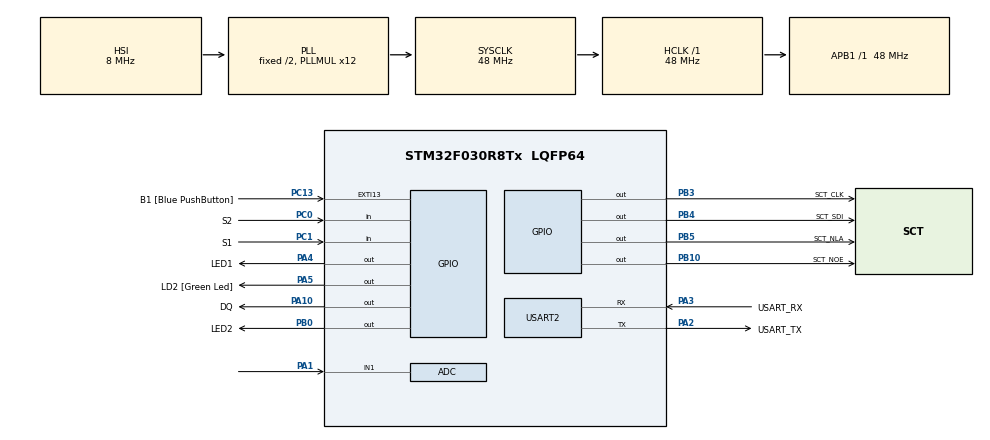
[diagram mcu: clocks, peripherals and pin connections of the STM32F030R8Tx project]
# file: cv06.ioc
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ADC.ContinuousConvMode=ENABLE
ADC.Overrun=ADC_OVR_DATA_OVERWRITTEN
ADC.Resolution=ADC_RESOLUTION_10B
Mcu.Family=STM32F0
Mcu.Name=STM32F030R8Tx
Mcu.Package=LQFP64
PA1.Mode=IN1
PA1.Signal=ADC_IN1
PA10.GPIO_Label=DQ
PA10.GPIO_ModeDefaultOutputPP=GPIO_MODE_OUTPUT_OD
PA10.GPIO_PuPd=GPIO_NOPULL
PA10.PinState=GPIO_PIN_SET
PA10.Signal=GPIO_Output
PA13.GPIO_Label=TMS
PA13.Mode=Serial_Wire
PA13.Signal=SYS_SWDIO
PA14.GPIO_Label=TCK
PA14.Mode=Serial_Wire
PA14.Signal=SYS_SWCLK
PA2.GPIO_Label=USART_TX
PA2.GPIO_Mode=GPIO_MODE_AF_PP
PA2.GPIO_PuPd=GPIO_NOPULL
PA2.GPIO_Speed=GPIO_SPEED_FREQ_LOW
PA2.Mode=Asynchronous
PA2.Signal=USART2_TX
PA3.GPIO_Label=USART_RX
PA3.GPIO_Mode=GPIO_MODE_AF_PP
PA3.GPIO_PuPd=GPIO_NOPULL
PA3.GPIO_Speed=GPIO_SPEED_FREQ_LOW
PA3.Mode=Asynchronous
PA3.Signal=USART2_RX
PA4.GPIO_Label=LED1
PA4.Signal=GPIO_Output
PA5.GPIO_Label=LD2 [Green Led]
PA5.GPIO_Mode=GPIO_MODE_OUTPUT_PP
PA5.GPIO_PuPd=GPIO_NOPULL
PA5.GPIO_Speed=GPIO_SPEED_FREQ_LOW
PA5.Signal=GPIO_Output
PB0.GPIO_Label=LED2
PB0.Signal=GPIO_Output
PB10.GPIO_Label=SCT_NOE
PB10.Signal=GPIO_Output
PB3.GPIO_Label=SCT_CLK
PB3.Signal=GPIO_Output
PB4.GPIO_Label=SCT_SDI
PB4.Signal=GPIO_Output
PB5.GPIO_Label=SCT_NLA
PB5.Signal=GPIO_Output
PC0.GPIO_Label=S2
PC0.GPIO_PuPd=GPIO_PULLUP
PC0.Signal=GPIO_Input
PC1.GPIO_Label=S1
PC1.GPIO_PuPd=GPIO_PULLUP
PC1.Signal=GPIO_Input
PC13.GPIO_Label=B1 [Blue PushButton]
PC13.GPIO_ModeDefaultEXTI=GPIO_MODE_IT_FALLING
PC13.Signal=GPXTI13
PC14-OSC32_IN.Mode=LSE-External-Oscillator
PC14-OSC32_IN.Signal=RCC_OSC32_IN
PC15-OSC32_OUT.Mode=LSE-External-Oscillator
PC15-OSC32_OUT.Signal=RCC_OSC32_OUT
PF0-OSC_IN.Mode=HSE-External-Clock-Source
PF0-OSC_IN.Signal=RCC_OSC_IN
PF1-OSC_OUT.Signal=RCC_OSC_OUT
ProjectManager.HeapSize=0x200
ProjectManager.StackSize=0x400
ProjectManager.TargetToolchain=STM32CubeIDE
RCC.AHBFreq_Value=48000000
RCC.APB1Freq_Value=48000000
RCC.APB1TimFreq_Value=48000000
RCC.HCLKFreq_Value=48000000
RCC.PLLMUL=RCC_PLL_MUL12
RCC.SYSCLKFreq_VALUE=48000000
RCC.SYSCLKSource=RCC_SYSCLKSOURCE_PLLCLK
USART2.VirtualMode-Asynchronous=VM_ASYNC
board=NUCLEO-F030R8

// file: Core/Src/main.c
/* USER CODE BEGIN Header */
/**
 ******************************************************************************
 * @file           : main.c
 * @brief          : Main program body
 ******************************************************************************
 * @attention
 *
 * Copyright (c) 2024 STMicroelectronics.
 * All rights reserved.
 *
 * This software is licensed under terms that can be found in the LICENSE file
 * in the root directory of this software component.
 * If no LICENSE file comes with this software, it is provided AS-IS.
 *
 ******************************************************************************
 */
/* USER CODE END Header */
#include "main.h"

/* USER CODE BEGIN Includes */
#include "1wire.h"
#include "stdio.h"
#include "sct.h"
#include "ntc_lookup.h"
/* USER CODE END Includes */

ADC_HandleTypeDef hadc;

UART_HandleTypeDef huart2;

void SystemClock_Config(void);
static void MX_GPIO_Init(void);
static void MX_USART2_UART_Init(void);
static void MX_ADC_Init(void);

/* USER CODE BEGIN 0 */
int _write(int file, char const *buf, int n)
{
	/* stdout redirection to UART2 */
	HAL_UART_Transmit(&huart2, (uint8_t*) (buf), n, HAL_MAX_DELAY);
	return n;
}

/* USER CODE END 0 */

int main(void)
{

	/* MCU Configuration--------------------------------------------------------*/

	/* Reset of all peripherals, Initializes the Flash interface and the Systick. */
	HAL_Init();

	/* Configure the system clock */
	SystemClock_Config();

	/* Initialize all configured peripherals */
	MX_GPIO_Init();
	MX_USART2_UART_Init();
	MX_ADC_Init();
	/* USER CODE BEGIN 2 */
	OWInit();
	sct_init();
	HAL_ADCEx_Calibration_Start(&hadc);
	HAL_ADC_Start(&hadc);
	sct_value(777, 0, 3);
	printf("HELLO\r\n");
	/* USER CODE END 2 */

	/* Infinite loop */
	/* USER CODE BEGIN WHILE */
	while (1)
	{
		int16_t temp_DS = 0;
		int16_t temp_ntc = 0;
		static enum FSM
		{
			DALLAS, NTC
		} state;

		static uint32_t cTick_DS;
		if (HAL_GetTick() > cTick_DS + 750)
		{
			OWConvertAll();
			if (OWReadTemperature(&temp_DS) == 0)
			{
				printf("ERROR reading sensor\r\n");
			}
			temp_DS = temp_DS / 10;
			sct_value(temp_DS, 0, 1);
			cTick_DS = HAL_GetTick();
		}

		static uint32_t cTick_ntc;
		if (HAL_GetTick() > cTick_ntc + 500)
		{
			int16_t adc;
			adc = HAL_ADC_GetValue(&hadc);
			temp_ntc = ntc_lookup_table[adc];
			cTick_ntc = HAL_GetTick();
		}

		if (HAL_GPIO_ReadPin(S2_GPIO_Port, S2_Pin) == 0)
		{
			state = DALLAS;
		}
		if (HAL_GPIO_ReadPin(S1_GPIO_Port, S1_Pin) == 0)
		{
			state = NTC;
		}

		switch (state)
		{
		case DALLAS:
			sct_value(temp_DS, 0, 1);
			printf("Temp DS: %d.%d°C\r\n", temp_DS/10, temp_DS%10);
			break;
		case NTC:
			sct_value(temp_ntc, 0, 1);
			printf("Temp NTC: %d.%d°C\r\n", temp_ntc/10, temp_ntc%10);
			break;
		}

		/* USER CODE END WHILE */

	}
}

void SystemClock_Config(void)
{
	RCC_OscInitTypeDef RCC_OscInitStruct =
	{ 0 };
	RCC_ClkInitTypeDef RCC_ClkInitStruct =
	{ 0 };

	/** Initializes the RCC Oscillators according to the specified parameters
	 * in the RCC_OscInitTypeDef structure.
	 */
	RCC_OscInitStruct.OscillatorType = RCC_OSCILLATORTYPE_HSI
			| RCC_OSCILLATORTYPE_HSI14;
	RCC_OscInitStruct.HSIState = RCC_HSI_ON;
	RCC_OscInitStruct.HSI14State = RCC_HSI14_ON;
	RCC_OscInitStruct.HSICalibrationValue = RCC_HSICALIBRATION_DEFAULT;
	RCC_OscInitStruct.HSI14CalibrationValue = 16;
	RCC_OscInitStruct.PLL.PLLState = RCC_PLL_ON;
	RCC_OscInitStruct.PLL.PLLSource = RCC_PLLSOURCE_HSI;
	RCC_OscInitStruct.PLL.PLLMUL = RCC_PLL_MUL12;
	RCC_OscInitStruct.PLL.PREDIV = RCC_PREDIV_DIV1;
	if (HAL_RCC_OscConfig(&RCC_OscInitStruct) != HAL_OK)
	{
		Error_Handler();
	}

	/** Initializes the CPU, AHB and APB buses clocks
	 */
	RCC_ClkInitStruct.ClockType = RCC_CLOCKTYPE_HCLK | RCC_CLOCKTYPE_SYSCLK
			| RCC_CLOCKTYPE_PCLK1;
	RCC_ClkInitStruct.SYSCLKSource = RCC_SYSCLKSOURCE_PLLCLK;
	RCC_ClkInitStruct.AHBCLKDivider = RCC_SYSCLK_DIV1;
	RCC_ClkInitStruct.APB1CLKDivider = RCC_HCLK_DIV1;

	if (HAL_RCC_ClockConfig(&RCC_ClkInitStruct, FLASH_LATENCY_1) != HAL_OK)
	{
		Error_Handler();
	}
}

static void MX_ADC_Init(void)
{

	ADC_ChannelConfTypeDef sConfig =
	{ 0 };

	/** Configure the global features of the ADC (Clock, Resolution, Data Alignment and number of conversion)
	 */
	hadc.Instance = ADC1;
	hadc.Init.ClockPrescaler = ADC_CLOCK_ASYNC_DIV1;
	hadc.Init.Resolution = ADC_RESOLUTION_10B;
	hadc.Init.DataAlign = ADC_DATAALIGN_RIGHT;
	hadc.Init.ScanConvMode = ADC_SCAN_DIRECTION_FORWARD;
	hadc.Init.EOCSelection = ADC_EOC_SINGLE_CONV;
	hadc.Init.LowPowerAutoWait = DISABLE;
	hadc.Init.LowPowerAutoPowerOff = DISABLE;
	hadc.Init.ContinuousConvMode = ENABLE;
	hadc.Init.DiscontinuousConvMode = DISABLE;
	hadc.Init.ExternalTrigConv = ADC_SOFTWARE_START;
	hadc.Init.ExternalTrigConvEdge = ADC_EXTERNALTRIGCONVEDGE_NONE;
	hadc.Init.DMAContinuousRequests = DISABLE;
	hadc.Init.Overrun = ADC_OVR_DATA_OVERWRITTEN;
	if (HAL_ADC_Init(&hadc) != HAL_OK)
	{
		Error_Handler();
	}

	/** Configure for the selected ADC regular channel to be converted.
	 */
	sConfig.Channel = ADC_CHANNEL_1;
	sConfig.Rank = ADC_RANK_CHANNEL_NUMBER;
	sConfig.SamplingTime = ADC_SAMPLETIME_1CYCLE_5;
	if (HAL_ADC_ConfigChannel(&hadc, &sConfig) != HAL_OK)
	{
		Error_Handler();
	}

}

static void MX_USART2_UART_Init(void)
{

	huart2.Instance = USART2;
	huart2.Init.BaudRate = 38400;
	huart2.Init.WordLength = UART_WORDLENGTH_8B;
	huart2.Init.StopBits = UART_STOPBITS_1;
	huart2.Init.Parity = UART_PARITY_NONE;
	huart2.Init.Mode = UART_MODE_TX_RX;
	huart2.Init.HwFlowCtl = UART_HWCONTROL_NONE;
	huart2.Init.OverSampling = UART_OVERSAMPLING_16;
	huart2.Init.OneBitSampling = UART_ONE_BIT_SAMPLE_DISABLE;
	huart2.AdvancedInit.AdvFeatureInit = UART_ADVFEATURE_NO_INIT;
	if (HAL_UART_Init(&huart2) != HAL_OK)
	{
		Error_Handler();
	}

}

static void MX_GPIO_Init(void)
{
	GPIO_InitTypeDef GPIO_InitStruct =
	{ 0 };

	/* GPIO Ports Clock Enable */
	__HAL_RCC_GPIOC_CLK_ENABLE();
	__HAL_RCC_GPIOF_CLK_ENABLE();
	__HAL_RCC_GPIOA_CLK_ENABLE();
	__HAL_RCC_GPIOB_CLK_ENABLE();

	/*Configure GPIO pin Output Level */
	HAL_GPIO_WritePin(GPIOA, LED1_Pin | LD2_Pin, GPIO_PIN_RESET);

	/*Configure GPIO pin Output Level */
	HAL_GPIO_WritePin(GPIOB,
	LED2_Pin | SCT_NOE_Pin | SCT_CLK_Pin | SCT_SDI_Pin | SCT_NLA_Pin,
			GPIO_PIN_RESET);

	/*Configure GPIO pin Output Level */
	HAL_GPIO_WritePin(DQ_GPIO_Port, DQ_Pin, GPIO_PIN_SET);

	/*Configure GPIO pin : B1_Pin */
	GPIO_InitStruct.Pin = B1_Pin;
	GPIO_InitStruct.Mode = GPIO_MODE_IT_FALLING;
	GPIO_InitStruct.Pull = GPIO_NOPULL;
	HAL_GPIO_Init(B1_GPIO_Port, &GPIO_InitStruct);

	/*Configure GPIO pins : S2_Pin S1_Pin */
	GPIO_InitStruct.Pin = S2_Pin | S1_Pin;
	GPIO_InitStruct.Mode = GPIO_MODE_INPUT;
	GPIO_InitStruct.Pull = GPIO_PULLUP;
	HAL_GPIO_Init(GPIOC, &GPIO_InitStruct);

	/*Configure GPIO pins : LED1_Pin LD2_Pin */
	GPIO_InitStruct.Pin = LED1_Pin | LD2_Pin;
	GPIO_InitStruct.Mode = GPIO_MODE_OUTPUT_PP;
	GPIO_InitStruct.Pull = GPIO_NOPULL;
	GPIO_InitStruct.Speed = GPIO_SPEED_FREQ_LOW;
	HAL_GPIO_Init(GPIOA, &GPIO_InitStruct);

	/*Configure GPIO pins : LED2_Pin SCT_NOE_Pin SCT_CLK_Pin SCT_SDI_Pin
	 SCT_NLA_Pin */
	GPIO_InitStruct.Pin = LED2_Pin | SCT_NOE_Pin | SCT_CLK_Pin | SCT_SDI_Pin
			| SCT_NLA_Pin;
	GPIO_InitStruct.Mode = GPIO_MODE_OUTPUT_PP;
	GPIO_InitStruct.Pull = GPIO_NOPULL;
	GPIO_InitStruct.Speed = GPIO_SPEED_FREQ_LOW;
	HAL_GPIO_Init(GPIOB, &GPIO_InitStruct);

	/*Configure GPIO pin : DQ_Pin */
	GPIO_InitStruct.Pin = DQ_Pin;
	GPIO_InitStruct.Mode = GPIO_MODE_OUTPUT_OD;
	GPIO_InitStruct.Pull = GPIO_NOPULL;
	GPIO_InitStruct.Speed = GPIO_SPEED_FREQ_LOW;
	HAL_GPIO_Init(DQ_GPIO_Port, &GPIO_InitStruct);

}

void Error_Handler(void)
{
	__disable_irq();
	while (1)
	{
	}
}
